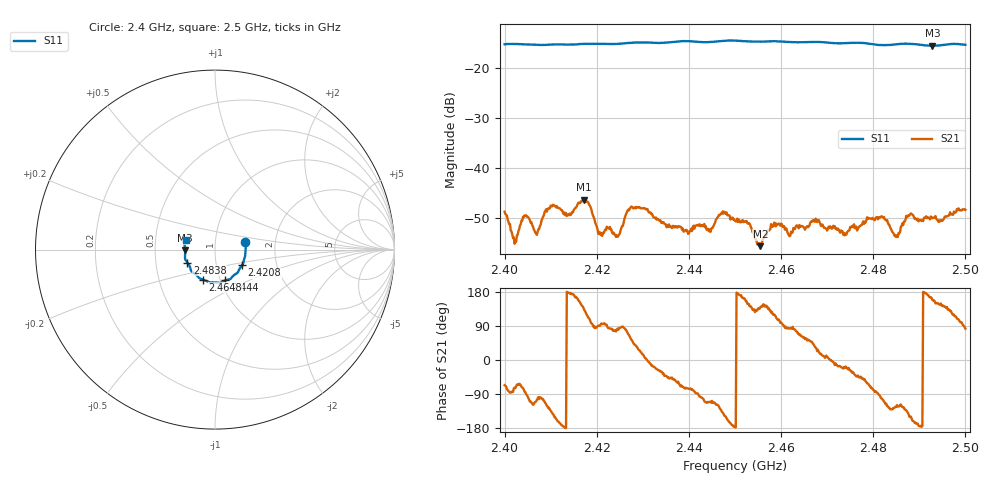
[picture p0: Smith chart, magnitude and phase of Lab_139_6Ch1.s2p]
# Hz S RI R 50
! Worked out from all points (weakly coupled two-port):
!   601 points, 2.4 GHz to 2.5 GHz, reference 50 ohm
!   highest |S21| = -46.32 dB at 2.4172 GHz (marker M1); lowest = -55.6 dB at 2.4555 GHz (marker M2)
!   lowest |S11| = -15.6 dB at 2.4928 GHz (marker M3), VSWR 1.40, Z = 35.7 - j0.332 ohm
!   |S11| at or under -10 dB: start of sweep to end of sweep
!   S12 and S22 are empty: the file has one direction only
!   S11 on the Smith chart (normalised r, x): 2.4 GHz: 1.40, +0.12; 2.4208 GHz: 1.33, -0.24; 2.444 GHz: 1.06, -0.37; 2.4648 GHz: 0.83, -0.29; 2.4838 GHz: 0.73, -0.11; 2.5 GHz: 0.72, +0.08
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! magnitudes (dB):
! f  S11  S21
! 2.4 GHz  -15.3  -48.7
! 2.4023 GHz  -15.2  -54.6
! 2.4045 GHz  -15.3  -49.5
! 2.407 GHz  -15.4  -53.3
! 2.41 GHz  -15.3  -47.5
! 2.414 GHz  -15.4  -49.4
! 2.4167 GHz  -15.2  -46.5
! 2.4172 GHz  -15.2  -46.3
! 2.4208 GHz  -15.2  -52.9
! 2.4247 GHz  -15.2  -53.5
! 2.4277 GHz  -15.0  -47.7
! 2.4333 GHz  -15.0  -50.2
! 2.444 GHz  -14.9  -52.4
! 2.45 GHz  -14.5  -50.5
! 2.4555 GHz  -14.8  -55.6
! 2.4583 GHz  -14.7  -51.6
! 2.4648 GHz  -14.9  -51.8
! 2.4667 GHz  -14.8  -50.6
! 2.4833 GHz  -15.4  -51.3
! 2.4838 GHz  -15.4  -52.1
! 2.4928 GHz  -15.6  -50.0
! 2.5 GHz  -15.4  -48.3
